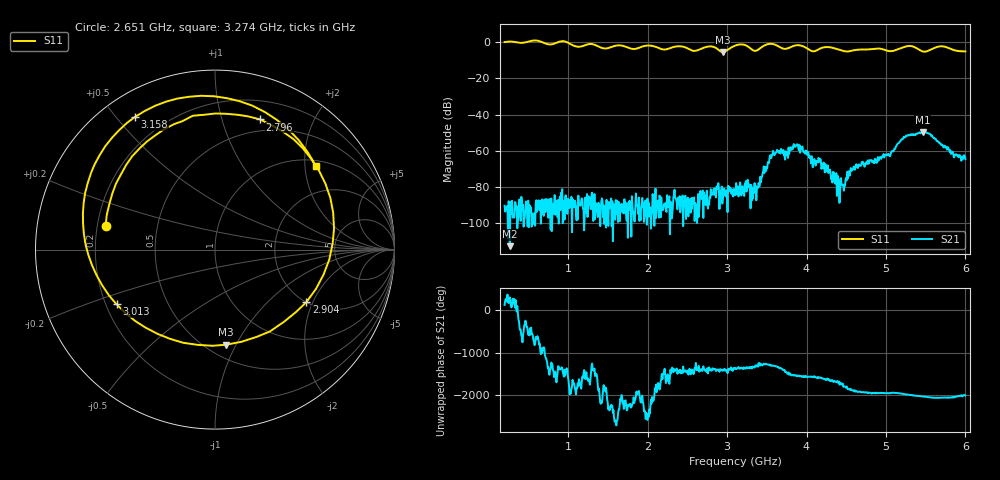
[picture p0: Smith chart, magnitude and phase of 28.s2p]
! NanoVNA-App
! Date: 2024-06-25 16:11:45
! Start: 200MHz Stop: 6GHz Points: 801
! S-Parameter data: F S11 S21 S12 S22
# Hz S RI R 50
!  Frequency  S11_Real  S11_Imag  S21_Real  S21_Imag  S12_Real  S12_Imag  S22_Real  S22_Imag
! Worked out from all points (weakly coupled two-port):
!   801 points, 200 MHz to 6 GHz, reference 50 ohm
!   highest |S21| = -49.74 dB at 5.463 GHz (marker M1); lowest = -112.7 dB at 265.2 MHz (marker M2)
!   lowest |S11| = -5.5 dB at 2.948 GHz (marker M3), VSWR 3.29, Z = 30.8 - j45.6 ohm
!   |S11| at or under -10 dB: nowhere
!   S12 and S22 are empty: the file has one direction only
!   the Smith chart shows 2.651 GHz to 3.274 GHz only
!   S11 on the Smith chart (normalised r, x): 2.651 GHz: 0.23, +0.10; 2.796 GHz: 0.38, +1.34; 2.904 GHz: 2.01, -1.79; 3.013 GHz: 0.24, -0.24; 3.158 GHz: 0.10, +0.56; 3.274 GHz: 1.14, +2.27
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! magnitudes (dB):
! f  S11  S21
! 200 MHz  0.0  -90.4
! 265.2 MHz  0.3  -112.7
! 1.171 GHz  -2.3  -86.2
! 2.136 GHz  -3.1  -87.4
! 2.651 GHz  -4.1  -92.2
! 2.796 GHz  -2.3  -81.2
! 2.904 GHz  -4.6  -92.1
! 2.948 GHz  -5.5  -85.5
! 3.013 GHz  -4.0  -79.4
! 3.1 GHz  -1.9  -84.5
! 3.158 GHz  -1.3  -82.4
! 3.274 GHz  -2.7  -79.2
! 3.383 GHz  -4.4  -80.2
! 3.607 GHz  -1.4  -61.4
! 3.861 GHz  -1.8  -57.7
! 4.072 GHz  -5.0  -64.1
! 4.441 GHz  -4.6  -78.6
! 4.601 GHz  -4.4  -68.9
! 5.036 GHz  -4.9  -62.0
! 5.246 GHz  -2.4  -52.4
! 5.463 GHz  -5.1  -49.7
! 6 GHz  -5.1  -64.6
